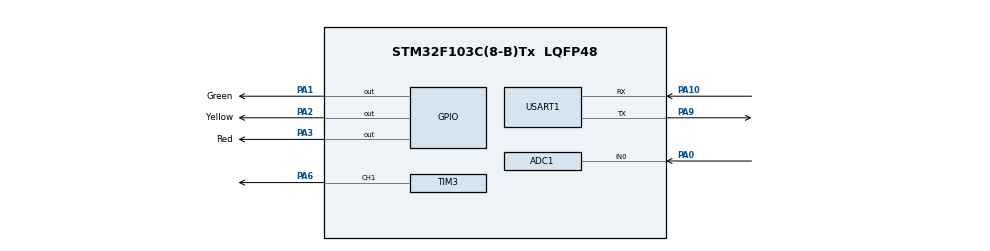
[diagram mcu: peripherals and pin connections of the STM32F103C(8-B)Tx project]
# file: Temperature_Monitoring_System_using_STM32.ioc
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ADC1.Channel-0\#ChannelRegularConversion=ADC_CHANNEL_0
ADC1.ContinuousConvMode=ENABLE
ADC1.NbrOfConversionFlag=1
ADC1.Rank-0\#ChannelRegularConversion=1
ADC1.SamplingTime-0\#ChannelRegularConversion=ADC_SAMPLETIME_1CYCLE_5
ADC1.master=1
Mcu.Family=STM32F1
Mcu.Name=STM32F103C(8-B)Tx
Mcu.Package=LQFP48
NVIC.PriorityGroup=NVIC_PRIORITYGROUP_4
PA0-WKUP.Signal=ADCx_IN0
PA1.GPIO_Label=Green
PA1.Signal=GPIO_Output
PA10.Mode=Asynchronous
PA10.Signal=USART1_RX
PA2.GPIO_Label=Yellow
PA2.Signal=GPIO_Output
PA3.GPIO_Label=Red
PA3.Signal=GPIO_Output
PA6.Signal=S_TIM3_CH1
PA9.Mode=Asynchronous
PA9.Signal=USART1_TX
ProjectManager.HeapSize=0x200
ProjectManager.StackSize=0x400
ProjectManager.TargetToolchain=STM32CubeIDE
RCC.APB1Freq_Value=8000000
RCC.APB2Freq_Value=8000000
SH.ADCx_IN0.0=ADC1_IN0,IN0
SH.S_TIM3_CH1.0=TIM3_CH1,PWM Generation1 CH1
TIM3.Channel-PWM\ Generation1\ CH1=TIM_CHANNEL_1
TIM3.Period=999
TIM3.Prescaler=71
TIM3.Pulse-PWM\ Generation1\ CH1=500
USART1.VirtualMode=VM_ASYNC
VP_SYS_VS_ND.Mode=No_Debug
board=custom

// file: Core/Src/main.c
/* USER CODE BEGIN Header */
/**
  ******************************************************************************
  * @file           : main.c
  * @brief          : Main program body
  ******************************************************************************
  * @attention
  *
  * Copyright (c) 2026 STMicroelectronics.
  * All rights reserved.
  *
  * This software is licensed under terms that can be found in the LICENSE file
  * in the root directory of this software component.
  * If no LICENSE file comes with this software, it is provided AS-IS.
  *
  ******************************************************************************
  */
/* USER CODE END Header */
#include "main.h"

/* USER CODE BEGIN Includes */
#include<string.h>
#include<stdio.h>

/* USER CODE END Includes */

ADC_HandleTypeDef hadc1;

TIM_HandleTypeDef htim3;

UART_HandleTypeDef huart1;

void SystemClock_Config(void);
static void MX_GPIO_Init(void);
static void MX_ADC1_Init(void);
static void MX_USART1_UART_Init(void);
static void MX_TIM3_Init(void);

int main(void)
{

  /* MCU Configuration--------------------------------------------------------*/

  /* Reset of all peripherals, Initializes the Flash interface and the Systick. */
  HAL_Init();

  /* Configure the system clock */
  SystemClock_Config();

  /* Initialize all configured peripherals */
  MX_GPIO_Init();
  MX_ADC1_Init();
  MX_USART1_UART_Init();
  MX_TIM3_Init();

  /* Infinite loop */
  /* USER CODE BEGIN WHILE */

  float temp;

  HAL_ADC_Start(&hadc1);
  int len;

//  HAL_TIM_PWM_Start(&htim3, TIM_CHANNEL_1);
//  __HAL_TIM_SET_COMPARE(&htim3, TIM_CHANNEL_1, 500);

  char buffer[32];
  while (1)
  {
	  HAL_ADC_PollForConversion(&hadc1, 100);
	  uint32_t value = HAL_ADC_GetValue(&hadc1);

	  temp = (value * 3.3 * 100 ) / 4095;

	  sprintf(buffer, "Temperature: %.1f C\r\n", temp);
	  len = strlen(buffer);
	  HAL_UART_Transmit(&huart1, (uint8_t *)buffer, len, 100);

	  if(temp < 40)
	  {
		  HAL_GPIO_WritePin(GPIOA, GPIO_PIN_1, GPIO_PIN_SET);
		  HAL_GPIO_WritePin(GPIOA, GPIO_PIN_2, GPIO_PIN_RESET);
		  HAL_GPIO_WritePin(GPIOA, GPIO_PIN_3, GPIO_PIN_RESET);
//		  __HAL_TIM_SET_COMPARE(&htim3, TIM_CHANNEL_1, 0);
		  HAL_GPIO_WritePin(GPIOA, GPIO_PIN_6, GPIO_PIN_RESET);
	  }
	  else if( temp >= 40 && temp <= 70)
	  {
		  HAL_GPIO_WritePin(GPIOA, GPIO_PIN_1, GPIO_PIN_RESET);
		  HAL_GPIO_WritePin(GPIOA, GPIO_PIN_2, GPIO_PIN_SET);
		  HAL_GPIO_WritePin(GPIOA, GPIO_PIN_3, GPIO_PIN_RESET);
		  HAL_GPIO_WritePin(GPIOA, GPIO_PIN_6, GPIO_PIN_RESET);
//		  __HAL_TIM_SET_COMPARE(&htim3, TIM_CHANNEL_1, 0);
	  }
	  else if(temp > 70)
	  {
//		  __HAL_TIM_SET_COMPARE(&htim3, TIM_CHANNEL_1, 500);
		  HAL_GPIO_WritePin(GPIOA, GPIO_PIN_1, GPIO_PIN_RESET);
		  HAL_GPIO_WritePin(GPIOA, GPIO_PIN_2, GPIO_PIN_RESET);
		  HAL_GPIO_WritePin(GPIOA, GPIO_PIN_3, GPIO_PIN_SET);
		  HAL_GPIO_WritePin(GPIOA, GPIO_PIN_6, GPIO_PIN_SET);
	  }

//	  __HAL_TIM_SET_COMPARE(&htim3, TIM_CHANNEL_1, 500);
	  HAL_Delay(100);
    /* USER CODE END WHILE */

  }
}

void SystemClock_Config(void)
{
  RCC_OscInitTypeDef RCC_OscInitStruct = {0};
  RCC_ClkInitTypeDef RCC_ClkInitStruct = {0};
  RCC_PeriphCLKInitTypeDef PeriphClkInit = {0};

  /** Initializes the RCC Oscillators according to the specified parameters
  * in the RCC_OscInitTypeDef structure.
  */
  RCC_OscInitStruct.OscillatorType = RCC_OSCILLATORTYPE_HSI;
  RCC_OscInitStruct.HSIState = RCC_HSI_ON;
  RCC_OscInitStruct.HSICalibrationValue = RCC_HSICALIBRATION_DEFAULT;
  RCC_OscInitStruct.PLL.PLLState = RCC_PLL_NONE;
  if (HAL_RCC_OscConfig(&RCC_OscInitStruct) != HAL_OK)
  {
    Error_Handler();
  }

  /** Initializes the CPU, AHB and APB buses clocks
  */
  RCC_ClkInitStruct.ClockType = RCC_CLOCKTYPE_HCLK|RCC_CLOCKTYPE_SYSCLK
                              |RCC_CLOCKTYPE_PCLK1|RCC_CLOCKTYPE_PCLK2;
  RCC_ClkInitStruct.SYSCLKSource = RCC_SYSCLKSOURCE_HSI;
  RCC_ClkInitStruct.AHBCLKDivider = RCC_SYSCLK_DIV1;
  RCC_ClkInitStruct.APB1CLKDivider = RCC_HCLK_DIV1;
  RCC_ClkInitStruct.APB2CLKDivider = RCC_HCLK_DIV1;

  if (HAL_RCC_ClockConfig(&RCC_ClkInitStruct, FLASH_LATENCY_0) != HAL_OK)
  {
    Error_Handler();
  }
  PeriphClkInit.PeriphClockSelection = RCC_PERIPHCLK_ADC;
  PeriphClkInit.AdcClockSelection = RCC_ADCPCLK2_DIV2;
  if (HAL_RCCEx_PeriphCLKConfig(&PeriphClkInit) != HAL_OK)
  {
    Error_Handler();
  }
}

static void MX_ADC1_Init(void)
{

  ADC_ChannelConfTypeDef sConfig = {0};

  /** Common config
  */
  hadc1.Instance = ADC1;
  hadc1.Init.ScanConvMode = ADC_SCAN_DISABLE;
  hadc1.Init.ContinuousConvMode = ENABLE;
  hadc1.Init.DiscontinuousConvMode = DISABLE;
  hadc1.Init.ExternalTrigConv = ADC_SOFTWARE_START;
  hadc1.Init.DataAlign = ADC_DATAALIGN_RIGHT;
  hadc1.Init.NbrOfConversion = 1;
  if (HAL_ADC_Init(&hadc1) != HAL_OK)
  {
    Error_Handler();
  }

  /** Configure Regular Channel
  */
  sConfig.Channel = ADC_CHANNEL_0;
  sConfig.Rank = ADC_REGULAR_RANK_1;
  sConfig.SamplingTime = ADC_SAMPLETIME_1CYCLE_5;
  if (HAL_ADC_ConfigChannel(&hadc1, &sConfig) != HAL_OK)
  {
    Error_Handler();
  }

}

static void MX_TIM3_Init(void)
{

  TIM_MasterConfigTypeDef sMasterConfig = {0};
  TIM_OC_InitTypeDef sConfigOC = {0};

  htim3.Instance = TIM3;
  htim3.Init.Prescaler = 71;
  htim3.Init.CounterMode = TIM_COUNTERMODE_UP;
  htim3.Init.Period = 999;
  htim3.Init.ClockDivision = TIM_CLOCKDIVISION_DIV1;
  htim3.Init.AutoReloadPreload = TIM_AUTORELOAD_PRELOAD_DISABLE;
  if (HAL_TIM_PWM_Init(&htim3) != HAL_OK)
  {
    Error_Handler();
  }
  sMasterConfig.MasterOutputTrigger = TIM_TRGO_RESET;
  sMasterConfig.MasterSlaveMode = TIM_MASTERSLAVEMODE_DISABLE;
  if (HAL_TIMEx_MasterConfigSynchronization(&htim3, &sMasterConfig) != HAL_OK)
  {
    Error_Handler();
  }
  sConfigOC.OCMode = TIM_OCMODE_PWM1;
  sConfigOC.Pulse = 500;
  sConfigOC.OCPolarity = TIM_OCPOLARITY_HIGH;
  sConfigOC.OCFastMode = TIM_OCFAST_DISABLE;
  if (HAL_TIM_PWM_ConfigChannel(&htim3, &sConfigOC, TIM_CHANNEL_1) != HAL_OK)
  {
    Error_Handler();
  }
  HAL_TIM_MspPostInit(&htim3);

}

static void MX_USART1_UART_Init(void)
{

  huart1.Instance = USART1;
  huart1.Init.BaudRate = 115200;
  huart1.Init.WordLength = UART_WORDLENGTH_8B;
  huart1.Init.StopBits = UART_STOPBITS_1;
  huart1.Init.Parity = UART_PARITY_NONE;
  huart1.Init.Mode = UART_MODE_TX_RX;
  huart1.Init.HwFlowCtl = UART_HWCONTROL_NONE;
  huart1.Init.OverSampling = UART_OVERSAMPLING_16;
  if (HAL_UART_Init(&huart1) != HAL_OK)
  {
    Error_Handler();
  }

}

static void MX_GPIO_Init(void)
{
  GPIO_InitTypeDef GPIO_InitStruct = {0};

  /* GPIO Ports Clock Enable */
  __HAL_RCC_GPIOA_CLK_ENABLE();

  /*Configure GPIO pin Output Level */
  HAL_GPIO_WritePin(GPIOA, Green_Pin|Yellow_Pin|Red_Pin, GPIO_PIN_RESET);

  /*Configure GPIO pins : Green_Pin Yellow_Pin Red_Pin */
  GPIO_InitStruct.Pin = Green_Pin|Yellow_Pin|Red_Pin;
  GPIO_InitStruct.Mode = GPIO_MODE_OUTPUT_PP;
  GPIO_InitStruct.Pull = GPIO_NOPULL;
  GPIO_InitStruct.Speed = GPIO_SPEED_FREQ_LOW;
  HAL_GPIO_Init(GPIOA, &GPIO_InitStruct);

}

void Error_Handler(void)
{
  __disable_irq();
  while (1)
  {
  }
}
